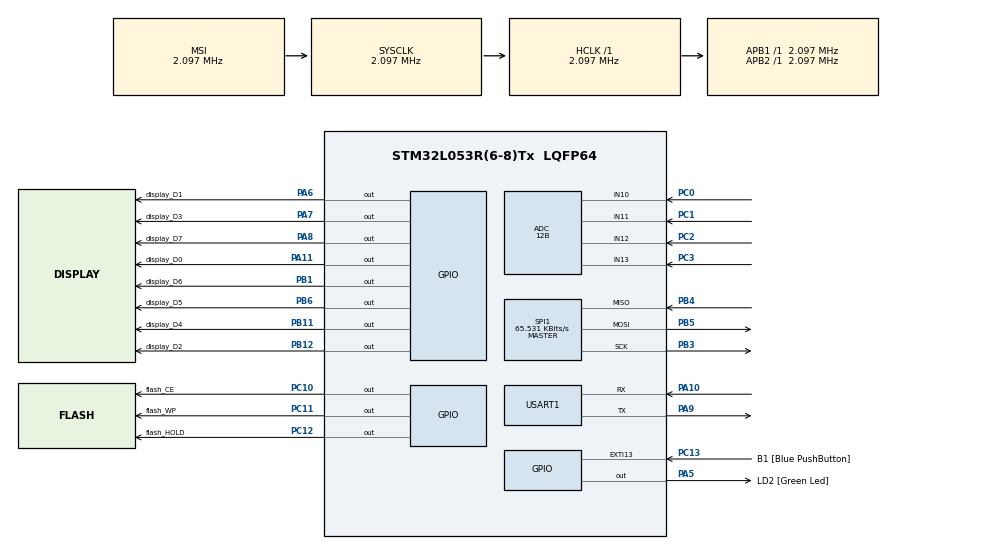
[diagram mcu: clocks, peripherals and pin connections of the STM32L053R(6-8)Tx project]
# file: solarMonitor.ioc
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ADC.ClockPrescaler=ADC_CLOCK_SYNC_PCLK_DIV1
ADC.ContinuousConvMode=DISABLE
ADC.DMAContinuousRequests=DISABLE
ADC.DataAlign=ADC_DATAALIGN_RIGHT
ADC.DiscontinuousConvMode=DISABLE
ADC.EOCSelection=ADC_EOC_SINGLE_CONV
ADC.EnableAnalogWatchDog=false
ADC.ExternalTrigConv=ADC_SOFTWARE_START
ADC.ExternalTrigConvEdge=ADC_EXTERNALTRIGCONVEDGE_NONE
ADC.LowPowerAutoPowerOff=DISABLE
ADC.LowPowerAutoWait=DISABLE
ADC.LowPowerFrequencyMode=DISABLE
ADC.Overrun=ADC_OVR_DATA_PRESERVED
ADC.OversamplingMode=DISABLE
ADC.Resolution=ADC_RESOLUTION_12B
ADC.SamplingTime=ADC_SAMPLETIME_1CYCLE_5
ADC.ScanConvMode=ADC_SCAN_DIRECTION_FORWARD
Dma.ADC.0.Direction=DMA_PERIPH_TO_MEMORY
Dma.ADC.0.Instance=DMA1_Channel1
Dma.ADC.0.MemDataAlignment=DMA_MDATAALIGN_WORD
Dma.ADC.0.MemInc=DMA_MINC_ENABLE
Dma.ADC.0.Mode=DMA_NORMAL
Dma.ADC.0.PeriphDataAlignment=DMA_PDATAALIGN_WORD
Dma.ADC.0.PeriphInc=DMA_PINC_DISABLE
Dma.ADC.0.Priority=DMA_PRIORITY_LOW
Dma.Request0=ADC
LPTIM1.ClockPrescaler=LPTIM_PRESCALER_DIV16
LPTIM1.TriggerSource=LPTIM_TRIGSOURCE_SOFTWARE
LPTIM1.UpdateMode=LPTIM_UPDATE_IMMEDIATE
Mcu.Family=STM32L0
Mcu.Name=STM32L053R(6-8)Tx
Mcu.Package=LQFP64
NVIC.DMA1_Channel1_IRQn=true\:0\:0\:false\:false\:true
NVIC.LPTIM1_IRQn=true\:0\:0\:false\:false\:true
NVIC.RTC_IRQn=true\:0\:0\:false\:false\:true
NVIC.USART1_IRQn=true\:0\:0\:false\:false\:true
PA10.Mode=Asynchronous
PA10.Signal=USART1_RX
PA11.GPIO_Label=display_D0
PA11.Signal=GPIO_Output
PA13.GPIO_Label=TMS
PA13.Signal=SYS_SWDIO
PA14.GPIO_Label=TCK
PA14.Signal=SYS_SWCLK
PA2.GPIO_Label=USART_TX
PA2.Signal=USART2_TX
PA3.GPIO_Label=USART_RX
PA3.Signal=USART2_RX
PA5.GPIO_Label=LD2 [Green Led]
PA5.Signal=GPIO_Output
PA6.GPIO_Label=display_D1
PA6.Signal=GPIO_Output
PA7.GPIO_Label=display_D3
PA7.Signal=GPIO_Output
PA8.GPIO_Label=display_D7
PA8.Signal=GPIO_Output
PA9.Mode=Asynchronous
PA9.Signal=USART1_TX
PB1.GPIO_Label=display_D6
PB1.Signal=GPIO_Output
PB11.GPIO_Label=display_D4
PB11.Signal=GPIO_Output
PB12.GPIO_Label=display_D2
PB12.Signal=GPIO_Output
PB3.Mode=Full_Duplex_Master
PB3.Signal=SPI1_SCK
PB4.Mode=Full_Duplex_Master
PB4.Signal=SPI1_MISO
PB5.Mode=Full_Duplex_Master
PB5.Signal=SPI1_MOSI
PB6.GPIO_Label=display_D5
PB6.Signal=GPIO_Output
PC0.Mode=IN10
PC0.Signal=ADC_IN10
PC1.Mode=IN11
PC1.Signal=ADC_IN11
PC10.GPIO_Label=flash_CE
PC10.Signal=GPIO_Output
PC11.GPIO_Label=flash_WP
PC11.Signal=GPIO_Output
PC12.GPIO_Label=flash_HOLD
PC12.Signal=GPIO_Output
PC13.GPIO_Label=B1 [Blue PushButton]
PC13.GPIO_ModeDefaultEXTI=GPIO_MODE_IT_FALLING
PC13.Signal=GPXTI13
PC14-OSC32_IN.Mode=LSE-External-Oscillator
PC14-OSC32_IN.Signal=RCC_OSC32_IN
PC15-OSC32_OUT.Mode=LSE-External-Oscillator
PC15-OSC32_OUT.Signal=RCC_OSC32_OUT
PC2.Mode=IN12
PC2.Signal=ADC_IN12
PC3.Mode=IN13
PC3.Signal=ADC_IN13
PH0-OSC_IN.Signal=RCC_OSC_IN
PH1-OSC_OUT.Signal=RCC_OSC_OUT
ProjectManager.HeapSize=0x200
ProjectManager.StackSize=0x400
ProjectManager.TargetToolchain=SW4STM32
RCC.AHBFreq_Value=2097000
RCC.APB1Freq_Value=2097000
RCC.APB1TimFreq_Value=2097000
RCC.APB2Freq_Value=2097000
RCC.APB2TimFreq_Value=2097000
RCC.HSE_VALUE=8000000
RCC.HSI16_VALUE=16000000
RCC.HSI48_VALUE=48000000
RCC.HSI_VALUE=16000000
RCC.LptimClockSelection=RCC_LPTIM1CLKSOURCE_LSE
RCC.MSI_VALUE=2097000
RCC.RTCClockSelection=RCC_RTCCLKSOURCE_LSE
RCC.RTCClockSelectionVirtual=RCC_RTCCLKSOURCE_LSE
RCC.SYSCLKFreq_VALUE=2097000
RCC.VCOOutputFreq_Value=48000000
RTC.WakeUpCounter-WakeUp=2000
SPI1.BaudRatePrescaler=SPI_BAUDRATEPRESCALER_32
SPI1.CLKPolarity=SPI_POLARITY_LOW
SPI1.CalculateBaudRate=65.531 KBits/s
SPI1.Direction=SPI_DIRECTION_2LINES
SPI1.Mode=SPI_MODE_MASTER
SPI1.VirtualType=VM_MASTER
USART1.RxPinLevelInvertParam=UART_ADVFEATURE_RXINV_ENABLE
USART1.TxPinLevelInvertParam=UART_ADVFEATURE_TXINV_ENABLE
USART1.VirtualMode-Asynchronous=VM_ASYNC
USART1.WordLength=WORDLENGTH_8B
VP_LPTIM1_VS_LPTIM_counterModeInternalClock.Mode=Counts__internal_clock_event_00
VP_RTC_VS_RTC_Activate.Mode=RTC_Enabled
VP_RTC_VS_RTC_Calendar.Mode=RTC_Calendar
VP_RTC_VS_RTC_WakeUp_intern.Mode=WakeUp
board=NUCLEO-L053R8

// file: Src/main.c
/**
  ******************************************************************************
  * File Name          : main.c
  * Description        : Main program body
  ******************************************************************************
  *
  * COPYRIGHT(c) 2017 STMicroelectronics
  *
  * Redistribution and use in source and binary forms, with or without modification,
  * are permitted provided that the following conditions are met:
  *   1. Redistributions of source code must retain the above copyright notice,
  *      this list of conditions and the following disclaimer.
  *   2. Redistributions in binary form must reproduce the above copyright notice,
  *      this list of conditions and the following disclaimer in the documentation
  *      and/or other materials provided with the distribution.
  *   3. Neither the name of STMicroelectronics nor the names of its contributors
  *      may be used to endorse or promote products derived from this software
  *      without specific prior written permission.
  *
  * THIS SOFTWARE IS PROVIDED BY THE COPYRIGHT HOLDERS AND CONTRIBUTORS "AS IS"
  * AND ANY EXPRESS OR IMPLIED WARRANTIES, INCLUDING, BUT NOT LIMITED TO, THE
  * IMPLIED WARRANTIES OF MERCHANTABILITY AND FITNESS FOR A PARTICULAR PURPOSE ARE
  * DISCLAIMED. IN NO EVENT SHALL THE COPYRIGHT HOLDER OR CONTRIBUTORS BE LIABLE
  * FOR ANY DIRECT, INDIRECT, INCIDENTAL, SPECIAL, EXEMPLARY, OR CONSEQUENTIAL
  * DAMAGES (INCLUDING, BUT NOT LIMITED TO, PROCUREMENT OF SUBSTITUTE GOODS OR
  * SERVICES; LOSS OF USE, DATA, OR PROFITS; OR BUSINESS INTERRUPTION) HOWEVER
  * CAUSED AND ON ANY THEORY OF LIABILITY, WHETHER IN CONTRACT, STRICT LIABILITY,
  * OR TORT (INCLUDING NEGLIGENCE OR OTHERWISE) ARISING IN ANY WAY OUT OF THE USE
  * OF THIS SOFTWARE, EVEN IF ADVISED OF THE POSSIBILITY OF SUCH DAMAGE.
  *
  ******************************************************************************
  */
#include "main.h"
#include "stm32l0xx_hal.h"

/* USER CODE BEGIN Includes */
#include "flash.h"
#include "solarMonitor.h"
#include "uart.h"

/* USER CODE END Includes */

ADC_HandleTypeDef hadc;
DMA_HandleTypeDef hdma_adc;

LPTIM_HandleTypeDef hlptim1;

RTC_HandleTypeDef hrtc;

SPI_HandleTypeDef hspi1;

UART_HandleTypeDef huart1;

/* USER CODE BEGIN PV */
/* Private variables ---------------------------------------------------------*/

/* USER CODE END PV */

void SystemClock_Config(void);
void Error_Handler(void);
static void MX_GPIO_Init(void);
static void MX_DMA_Init(void);
static void MX_USART1_UART_Init(void);
static void MX_ADC_Init(void);
static void MX_RTC_Init(void);
static void MX_LPTIM1_Init(void);
static void MX_SPI1_Init(void);

/* USER CODE BEGIN PFP */
/* Private function prototypes -----------------------------------------------*/

/* USER CODE END PFP */

/* USER CODE BEGIN 0 */

static uint32_t adcPeriod;
uint8_t flashID[3];
uint32_t i, j;
uint32_t result;
uint8_t flashData[100];
uint8_t dataToWrite[100];

/* USER CODE END 0 */

int main(void)
{

  /* USER CODE BEGIN 1 */

	adcPeriod = 3; // configure the period in seconds

  /* USER CODE END 1 */

  /* MCU Configuration----------------------------------------------------------*/

  /* Reset of all peripherals, Initializes the Flash interface and the Systick. */
  HAL_Init();

  /* Configure the system clock */
  SystemClock_Config();

  /* Initialize all configured peripherals */
  MX_GPIO_Init();
  MX_DMA_Init();
  MX_USART1_UART_Init();
  MX_ADC_Init();
  MX_RTC_Init();
  MX_LPTIM1_Init();
  MX_SPI1_Init();

  /* USER CODE BEGIN 2 */
//  initTables();
  flash_initGPIO();
  flash_readID(&flashID[0]);
 // flash_readStatus(&flashID[0]);
//  flash_readConfig(&flashID[0]);

  flash_globalBlockProtectionUnlock();

  enableUartInterrupt();

  HAL_LPTIM_Counter_Start_IT(&hlptim1, adcPeriod*2048);

  /* USER CODE END 2 */

  /* Infinite loop */
  while (1)
  {

  }

}

/** System Clock Configuration
*/
void SystemClock_Config(void)
{

  RCC_OscInitTypeDef RCC_OscInitStruct;
  RCC_ClkInitTypeDef RCC_ClkInitStruct;
  RCC_PeriphCLKInitTypeDef PeriphClkInit;

    /**Configure the main internal regulator output voltage
    */
  __HAL_PWR_VOLTAGESCALING_CONFIG(PWR_REGULATOR_VOLTAGE_SCALE1);

    /**Initializes the CPU, AHB and APB busses clocks
    */
  RCC_OscInitStruct.OscillatorType = RCC_OSCILLATORTYPE_LSE|RCC_OSCILLATORTYPE_MSI;
  RCC_OscInitStruct.LSEState = RCC_LSE_ON;
  RCC_OscInitStruct.MSIState = RCC_MSI_ON;
  RCC_OscInitStruct.MSICalibrationValue = 0;
  RCC_OscInitStruct.MSIClockRange = RCC_MSIRANGE_5;
  RCC_OscInitStruct.PLL.PLLState = RCC_PLL_NONE;
  if (HAL_RCC_OscConfig(&RCC_OscInitStruct) != HAL_OK)
  {
    Error_Handler();
  }

    /**Initializes the CPU, AHB and APB busses clocks
    */
  RCC_ClkInitStruct.ClockType = RCC_CLOCKTYPE_HCLK|RCC_CLOCKTYPE_SYSCLK
                              |RCC_CLOCKTYPE_PCLK1|RCC_CLOCKTYPE_PCLK2;
  RCC_ClkInitStruct.SYSCLKSource = RCC_SYSCLKSOURCE_MSI;
  RCC_ClkInitStruct.AHBCLKDivider = RCC_SYSCLK_DIV1;
  RCC_ClkInitStruct.APB1CLKDivider = RCC_HCLK_DIV1;
  RCC_ClkInitStruct.APB2CLKDivider = RCC_HCLK_DIV1;

  if (HAL_RCC_ClockConfig(&RCC_ClkInitStruct, FLASH_LATENCY_0) != HAL_OK)
  {
    Error_Handler();
  }

  PeriphClkInit.PeriphClockSelection = RCC_PERIPHCLK_USART1|RCC_PERIPHCLK_RTC
                              |RCC_PERIPHCLK_LPTIM1;
  PeriphClkInit.Usart1ClockSelection = RCC_USART1CLKSOURCE_PCLK2;
  PeriphClkInit.RTCClockSelection = RCC_RTCCLKSOURCE_LSE;
  PeriphClkInit.LptimClockSelection = RCC_LPTIM1CLKSOURCE_LSE;

  if (HAL_RCCEx_PeriphCLKConfig(&PeriphClkInit) != HAL_OK)
  {
    Error_Handler();
  }

    /**Configure LSE Drive Capability
    */
  __HAL_RCC_LSEDRIVE_CONFIG(RCC_LSEDRIVE_LOW);

    /**Configure the Systick interrupt time
    */
  HAL_SYSTICK_Config(HAL_RCC_GetHCLKFreq()/1000);

    /**Configure the Systick
    */
  HAL_SYSTICK_CLKSourceConfig(SYSTICK_CLKSOURCE_HCLK);

  /* SysTick_IRQn interrupt configuration */
  HAL_NVIC_SetPriority(SysTick_IRQn, 0, 0);
}

/* ADC init function */
static void MX_ADC_Init(void)
{

  ADC_ChannelConfTypeDef sConfig;

    /**Configure the global features of the ADC (Clock, Resolution, Data Alignment and number of conversion)
    */
  hadc.Instance = ADC1;
  hadc.Init.OversamplingMode = DISABLE;
  hadc.Init.ClockPrescaler = ADC_CLOCK_SYNC_PCLK_DIV1;
  hadc.Init.Resolution = ADC_RESOLUTION_12B;
  hadc.Init.SamplingTime = ADC_SAMPLETIME_1CYCLE_5;
  hadc.Init.ScanConvMode = ADC_SCAN_DIRECTION_FORWARD;
  hadc.Init.DataAlign = ADC_DATAALIGN_RIGHT;
  hadc.Init.ContinuousConvMode = DISABLE;
  hadc.Init.DiscontinuousConvMode = DISABLE;
  hadc.Init.ExternalTrigConvEdge = ADC_EXTERNALTRIGCONVEDGE_NONE;
  hadc.Init.ExternalTrigConv = ADC_SOFTWARE_START;
  hadc.Init.DMAContinuousRequests = DISABLE;
  hadc.Init.EOCSelection = ADC_EOC_SINGLE_CONV;
  hadc.Init.Overrun = ADC_OVR_DATA_PRESERVED;
  hadc.Init.LowPowerAutoWait = DISABLE;
  hadc.Init.LowPowerFrequencyMode = DISABLE;
  hadc.Init.LowPowerAutoPowerOff = DISABLE;
  if (HAL_ADC_Init(&hadc) != HAL_OK)
  {
    Error_Handler();
  }

    /**Configure for the selected ADC regular channel to be converted.
    */
  sConfig.Channel = ADC_CHANNEL_10;
  sConfig.Rank = ADC_RANK_CHANNEL_NUMBER;
  if (HAL_ADC_ConfigChannel(&hadc, &sConfig) != HAL_OK)
  {
    Error_Handler();
  }

    /**Configure for the selected ADC regular channel to be converted.
    */
  sConfig.Channel = ADC_CHANNEL_11;
  if (HAL_ADC_ConfigChannel(&hadc, &sConfig) != HAL_OK)
  {
    Error_Handler();
  }

    /**Configure for the selected ADC regular channel to be converted.
    */
  sConfig.Channel = ADC_CHANNEL_12;
  if (HAL_ADC_ConfigChannel(&hadc, &sConfig) != HAL_OK)
  {
    Error_Handler();
  }

    /**Configure for the selected ADC regular channel to be converted.
    */
  sConfig.Channel = ADC_CHANNEL_13;
  if (HAL_ADC_ConfigChannel(&hadc, &sConfig) != HAL_OK)
  {
    Error_Handler();
  }

}

/* LPTIM1 init function */
static void MX_LPTIM1_Init(void)
{

  hlptim1.Instance = LPTIM1;
  hlptim1.Init.Clock.Source = LPTIM_CLOCKSOURCE_APBCLOCK_LPOSC;
  hlptim1.Init.Clock.Prescaler = LPTIM_PRESCALER_DIV16;
  hlptim1.Init.Trigger.Source = LPTIM_TRIGSOURCE_SOFTWARE;
  hlptim1.Init.OutputPolarity = LPTIM_OUTPUTPOLARITY_HIGH;
  hlptim1.Init.UpdateMode = LPTIM_UPDATE_IMMEDIATE;
  hlptim1.Init.CounterSource = LPTIM_COUNTERSOURCE_INTERNAL;
  if (HAL_LPTIM_Init(&hlptim1) != HAL_OK)
  {
    Error_Handler();
  }

}

/* RTC init function */
static void MX_RTC_Init(void)
{

  RTC_TimeTypeDef sTime;
  RTC_DateTypeDef sDate;

    /**Initialize RTC Only
    */
  hrtc.Instance = RTC;
  hrtc.Init.HourFormat = RTC_HOURFORMAT_24;
  hrtc.Init.AsynchPrediv = 127;
  hrtc.Init.SynchPrediv = 255;
  hrtc.Init.OutPut = RTC_OUTPUT_DISABLE;
  hrtc.Init.OutPutRemap = RTC_OUTPUT_REMAP_NONE;
  hrtc.Init.OutPutPolarity = RTC_OUTPUT_POLARITY_HIGH;
  hrtc.Init.OutPutType = RTC_OUTPUT_TYPE_OPENDRAIN;
  if (HAL_RTC_Init(&hrtc) != HAL_OK)
  {
    Error_Handler();
  }

    /**Initialize RTC and set the Time and Date
    */
  if(HAL_RTCEx_BKUPRead(&hrtc, RTC_BKP_DR0) != 0x32F2){
  sTime.Hours = 0x0;
  sTime.Minutes = 0x0;
  sTime.Seconds = 0x0;
  sTime.DayLightSaving = RTC_DAYLIGHTSAVING_NONE;
  sTime.StoreOperation = RTC_STOREOPERATION_RESET;
  if (HAL_RTC_SetTime(&hrtc, &sTime, RTC_FORMAT_BCD) != HAL_OK)
  {
    Error_Handler();
  }

  sDate.WeekDay = RTC_WEEKDAY_MONDAY;
  sDate.Month = RTC_MONTH_JANUARY;
  sDate.Date = 0x1;
  sDate.Year = 0x0;

  if (HAL_RTC_SetDate(&hrtc, &sDate, RTC_FORMAT_BCD) != HAL_OK)
  {
    Error_Handler();
  }

    HAL_RTCEx_BKUPWrite(&hrtc,RTC_BKP_DR0,0x32F2);
  }
    /**Enable the WakeUp
    */
  if (HAL_RTCEx_SetWakeUpTimer_IT(&hrtc, 2000, RTC_WAKEUPCLOCK_RTCCLK_DIV16) != HAL_OK)
  {
    Error_Handler();
  }

}

/* SPI1 init function */
static void MX_SPI1_Init(void)
{

  hspi1.Instance = SPI1;
  hspi1.Init.Mode = SPI_MODE_MASTER;
  hspi1.Init.Direction = SPI_DIRECTION_2LINES;
  hspi1.Init.DataSize = SPI_DATASIZE_8BIT;
  hspi1.Init.CLKPolarity = SPI_POLARITY_LOW;
  hspi1.Init.CLKPhase = SPI_PHASE_1EDGE;
  hspi1.Init.NSS = SPI_NSS_SOFT;
  hspi1.Init.BaudRatePrescaler = SPI_BAUDRATEPRESCALER_32;
  hspi1.Init.FirstBit = SPI_FIRSTBIT_MSB;
  hspi1.Init.TIMode = SPI_TIMODE_DISABLE;
  hspi1.Init.CRCCalculation = SPI_CRCCALCULATION_DISABLE;
  hspi1.Init.CRCPolynomial = 7;
  if (HAL_SPI_Init(&hspi1) != HAL_OK)
  {
    Error_Handler();
  }

}

/* USART1 init function */
static void MX_USART1_UART_Init(void)
{

  huart1.Instance = USART1;
  huart1.Init.BaudRate = 115200;
  huart1.Init.WordLength = UART_WORDLENGTH_8B;
  huart1.Init.StopBits = UART_STOPBITS_1;
  huart1.Init.Parity = UART_PARITY_NONE;
  huart1.Init.Mode = UART_MODE_TX_RX;
  huart1.Init.HwFlowCtl = UART_HWCONTROL_NONE;
  huart1.Init.OverSampling = UART_OVERSAMPLING_16;
  huart1.Init.OneBitSampling = UART_ONE_BIT_SAMPLE_DISABLE;
  huart1.AdvancedInit.AdvFeatureInit = UART_ADVFEATURE_TXINVERT_INIT|UART_ADVFEATURE_RXINVERT_INIT;
  huart1.AdvancedInit.TxPinLevelInvert = UART_ADVFEATURE_TXINV_ENABLE;
  huart1.AdvancedInit.RxPinLevelInvert = UART_ADVFEATURE_RXINV_ENABLE;
  if (HAL_UART_Init(&huart1) != HAL_OK)
  {
    Error_Handler();
  }

}

static void MX_DMA_Init(void)
{
  /* DMA controller clock enable */
  __HAL_RCC_DMA1_CLK_ENABLE();

  /* DMA interrupt init */
  /* DMA1_Channel1_IRQn interrupt configuration */
  HAL_NVIC_SetPriority(DMA1_Channel1_IRQn, 0, 0);
  HAL_NVIC_EnableIRQ(DMA1_Channel1_IRQn);

}

/** Configure pins as
        * Analog
        * Input
        * Output
        * EVENT_OUT
        * EXTI
     PA2   ------> USART2_TX
     PA3   ------> USART2_RX
*/
static void MX_GPIO_Init(void)
{

  GPIO_InitTypeDef GPIO_InitStruct;

  /* GPIO Ports Clock Enable */
  __HAL_RCC_GPIOC_CLK_ENABLE();
  __HAL_RCC_GPIOH_CLK_ENABLE();
  __HAL_RCC_GPIOA_CLK_ENABLE();
  __HAL_RCC_GPIOB_CLK_ENABLE();

  /*Configure GPIO pin Output Level */
  HAL_GPIO_WritePin(GPIOA, LD2_Pin|display_D1_Pin|display_D3_Pin|display_D7_Pin
                          |display_D0_Pin, GPIO_PIN_RESET);

  /*Configure GPIO pin Output Level */
  HAL_GPIO_WritePin(GPIOB, display_D6_Pin|display_D4_Pin|display_D2_Pin|display_D5_Pin, GPIO_PIN_RESET);

  /*Configure GPIO pin Output Level */
  HAL_GPIO_WritePin(GPIOC, flash_CE_Pin|flash_WP_Pin|flash_HOLD_Pin, GPIO_PIN_RESET);

  /*Configure GPIO pin : B1_Pin */
  GPIO_InitStruct.Pin = B1_Pin;
  GPIO_InitStruct.Mode = GPIO_MODE_IT_FALLING;
  GPIO_InitStruct.Pull = GPIO_NOPULL;
  HAL_GPIO_Init(B1_GPIO_Port, &GPIO_InitStruct);

  /*Configure GPIO pins : USART_TX_Pin USART_RX_Pin */
  GPIO_InitStruct.Pin = USART_TX_Pin|USART_RX_Pin;
  GPIO_InitStruct.Mode = GPIO_MODE_AF_PP;
  GPIO_InitStruct.Pull = GPIO_NOPULL;
  GPIO_InitStruct.Speed = GPIO_SPEED_FREQ_VERY_HIGH;
  GPIO_InitStruct.Alternate = GPIO_AF4_USART2;
  HAL_GPIO_Init(GPIOA, &GPIO_InitStruct);

  /*Configure GPIO pins : LD2_Pin display_D1_Pin display_D3_Pin display_D7_Pin
                           display_D0_Pin */
  GPIO_InitStruct.Pin = LD2_Pin|display_D1_Pin|display_D3_Pin|display_D7_Pin
                          |display_D0_Pin;
  GPIO_InitStruct.Mode = GPIO_MODE_OUTPUT_PP;
  GPIO_InitStruct.Pull = GPIO_NOPULL;
  GPIO_InitStruct.Speed = GPIO_SPEED_FREQ_LOW;
  HAL_GPIO_Init(GPIOA, &GPIO_InitStruct);

  /*Configure GPIO pins : display_D6_Pin display_D4_Pin display_D2_Pin display_D5_Pin */
  GPIO_InitStruct.Pin = display_D6_Pin|display_D4_Pin|display_D2_Pin|display_D5_Pin;
  GPIO_InitStruct.Mode = GPIO_MODE_OUTPUT_PP;
  GPIO_InitStruct.Pull = GPIO_NOPULL;
  GPIO_InitStruct.Speed = GPIO_SPEED_FREQ_LOW;
  HAL_GPIO_Init(GPIOB, &GPIO_InitStruct);

  /*Configure GPIO pins : flash_CE_Pin flash_WP_Pin flash_HOLD_Pin */
  GPIO_InitStruct.Pin = flash_CE_Pin|flash_WP_Pin|flash_HOLD_Pin;
  GPIO_InitStruct.Mode = GPIO_MODE_OUTPUT_PP;
  GPIO_InitStruct.Pull = GPIO_NOPULL;
  GPIO_InitStruct.Speed = GPIO_SPEED_FREQ_LOW;
  HAL_GPIO_Init(GPIOC, &GPIO_InitStruct);

}

void Error_Handler(void)
{
  while(1)
  {
  }
}

/************************ (C) COPYRIGHT STMicroelectronics *****END OF FILE****/
